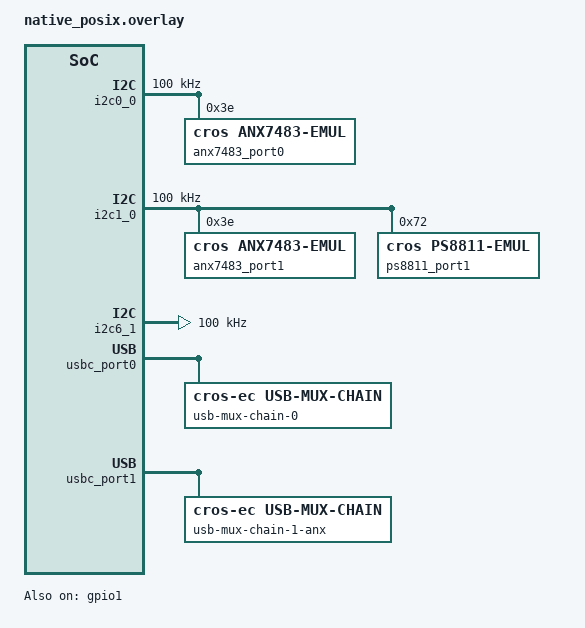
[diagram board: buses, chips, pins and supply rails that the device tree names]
/* Copyright 2023 The ChromiumOS Authors
 * Use of this source code is governed by a BSD-style license that can be
 * found in the LICENSE file.
 */

#include <board-overlays/native_posix.dts>
#include <dt-bindings/gpio_defines.h>

/ {
	/* GPIOs shared by all boards */
	named-gpios {
		compatible = "named-gpios";

		gpio_3axis_int_l: 3axis_int_l {
			gpios = <&gpio0 0 GPIO_INPUT_PULL_UP>;
		};
		gpio_6axis_int_l: 6axis_int_l {
			gpios = <&gpio0 1 GPIO_INPUT_PULL_UP>;
		};
		gpio_acok_od: acok_od {
			gpios = <&gpio0 2 GPIO_INPUT>;
			enum-name = "GPIO_AC_PRESENT";
		};
		gpio_ccd_mode_odl: ccd_mode_odl {
			gpios = <&gpio0 3 GPIO_ODR_LOW>;
			enum-name = "GPIO_CCD_MODE_ODL";
		};
		gpio_ec_bat_pres_odl: ec_bat_pres_odl {
			gpios = <&gpio0 4 GPIO_INPUT>;
			enum-name = "GPIO_BATT_PRES_ODL";
		};
		gpio_ec_c0_retimer_int_odl: ec_c0_retimer_int_odl {
			gpios = <&gpio0 5 GPIO_INPUT_PULL_UP>;
		};
		gpio_ec_c0_retimer_rst_l: ec_c0_retimer_rst_l {
			gpios = <&gpio0 6 GPIO_ODR_HIGH>;
		};
		gpio_ec_c1_retimer_int_odl: ec_c1_retimer_int_odl {
			gpios = <&gpio0 7 GPIO_INPUT>;
		};
		gpio_ec_c1_retimer_rst_odl: ec_c1_retimer_rst_odl {
			gpios = <&gpio0 8 GPIO_ODR_LOW>;
		};
		gpio_ec_disable_disp_bl: ec_disable_disp_bl {
			gpios = <&gpio0 9 GPIO_OUTPUT>;
			enum-name = "GPIO_ENABLE_BACKLIGHT";
		};
		gpio_ec_fan1_speed: ec_fan1_speed {
			gpios = <&gpio0 10 GPIO_INPUT>;
		};
		gpio_ec_fan2_speed: ec_fan2_speed {
			gpios = <&gpio0 11 GPIO_INPUT>;
		};
		gpio_ec_gsc_packet_mode_odl: ec_gsc_packet_mode_odl {
			gpios = <&gpio0 12 GPIO_ODR_LOW>;
			enum-name = "GPIO_PACKET_MODE_EN";
		};
		gpio_ec_kso_02_inv: ec_kso_02_inv {
			gpios = <&gpio0 13 (GPIO_OUTPUT | GPIO_ACTIVE_LOW)>;
			enum-name = "GPIO_KBD_KSO2";
		};
		gpio_ec_mech_pwr_btn_odl: ec_mech_pwr_btn_odl {
			gpios = <&gpio0 14 (GPIO_OUTPUT_LOW | GPIO_INPUT)>;
			enum-name = "GPIO_POWER_BUTTON_L";
		};
		gpio_ec_prochot_odl: ec_prochot_odl {
			gpios = <&gpio0 15 GPIO_INPUT>;
			enum-name = "GPIO_CPU_PROCHOT";
		};
		gpio_ec_soc_int: ec_soc_int {
			gpios = <&gpio0 16 GPIO_OUTPUT>;
			enum-name = "GPIO_EC_INT_L";
		};
		gpio_ec_soc_pwr_btn_odl: ec_soc_pwr_btn_odl {
			gpios = <&gpio0 17 GPIO_OUTPUT_HIGH>;
			enum-name = "GPIO_PCH_PWRBTN_L";
		};
		gpio_ec_soc_pwr_good: ec_soc_pwr_good {
			/*
			 * Needs to be configured as I/O to allow tested code to
			 * read this pin.
			 */
			gpios = <&gpio0 18 (GPIO_OUTPUT_LOW | GPIO_INPUT)>;
		};
		gpio_ec_soc_rsmrst_l: ec_soc_rsmrst_l {
			/*
			 * Needs to be configured as I/O to allow tested code to
			 * read this pin.
			 */
			gpios = <&gpio0 19 (GPIO_OUTPUT_LOW | GPIO_INPUT)>;
			enum-name = "GPIO_PCH_RSMRST_L";
		};
		gpio_ec_soc_wake_odl: ec_soc_wake_odl {
			gpios = <&gpio0 20 GPIO_ODR_LOW>;
		};
		gpio_ec_sys_rst_l: ec_sys_rst_l {
			gpios = <&gpio0 21 GPIO_ODR_HIGH>;
			enum-name = "GPIO_SYS_RESET_L";
		};
		gpio_ec_wp_l: ec_wp_l {
			gpios = <&gpio0 22 (GPIO_INPUT | GPIO_ACTIVE_LOW)>;
		};
		gpio_en_kb_bl: en_kb_bl {
			gpios = <&gpio0 23 GPIO_OUTPUT>;
			enum-name = "GPIO_EN_KEYBOARD_BACKLIGHT";
		};
		gpio_en_pp5000_usb_a0_vbus: en_pp5000_usb_a0_vbus {
			gpios = <&gpio0 24 GPIO_OUTPUT>;
		};
		gpio_en_pp5000_usb_a1_vbus: en_pp5000_usb_a1_vbus {
			gpios = <&gpio0 25 GPIO_OUTPUT>;
		};
		gpio_en_pwr_pcore_s0: en_pwr_pcore_s0 {
			/*
			 * Needs to be configured as I/O to allow tested code to
			 * read this pin.
			 */
			gpios = <&gpio0 26 (GPIO_OUTPUT_LOW | GPIO_INPUT)>;
		};
		gpio_en_pwr_s0: en_pwr_s0 {
			/*
			 * Needs to be configured as I/O to allow tested code to
			 * read this pin.
			 */
			gpios = <&gpio0 27 (GPIO_OUTPUT_LOW | GPIO_INPUT)>;
		};
		gpio_en_pwr_s5: en_pwr_s5 {
			gpios = <&gpio0 28 GPIO_OUTPUT>;
			enum-name = "GPIO_EN_PWR_A";
		};
		gpio_en_pwr_z1: en_pwr_z1 {
			gpios = <&gpio0 29 GPIO_OUTPUT>;
		};
		gpio_en_usb_a1_retimer: en_usb_a1_retimer {
			gpios = <&gpio0 30 GPIO_OUTPUT>;
		};
		gpio_en_usb_c0_tcpc_vbsnk_l: en_usb_c0_tcpc_vbsnk_l {
			gpios = <&gpio0 31 GPIO_INPUT>;
		};
		gpio_lid_open: lid_open {
			gpios = <&gpio1 0 GPIO_INPUT>;
			enum-name = "GPIO_LID_OPEN";
		};
		gpio_pg_groupc_s0_od: pg_groupc_s0_od {
			gpios = <&gpio1 1 GPIO_INPUT>;
		};
		gpio_pg_lpddr5_s3_od: pg_lpddr5_s3_od {
			gpios = <&gpio1 2 GPIO_INPUT>;
		};
		gpio_pg_pcore_s0_r_od: pg_pcore_s0_r_od {
			gpios = <&gpio1 3 GPIO_INPUT>;
			enum-name = "GPIO_S0_PGOOD";
		};
		gpio_pg_ppvar_mem_od: pg_ppvar_mem_od {
			gpios = <&gpio1 4 GPIO_INPUT>;
		};
		gpio_pg_pwr_s5: pg_pwr_s5 {
			gpios = <&gpio1 5 GPIO_INPUT>;
			enum-name = "GPIO_S5_PGOOD";
		};
		gpio_pg_vddq_mem_od: pg_vddq_mem_od {
			/*
			 * Needs to be configured as I/O to allow tested code to
			 * read this pin.
			 */
			gpios = <&gpio1 6 (GPIO_OUTPUT_LOW | GPIO_INPUT)>;
		};
		gpio_slp_s3_l: slp_s3_l {
			gpios = <&gpio1 7 GPIO_INPUT>;
			enum-name = "GPIO_PCH_SLP_S3_L";
		};
		gpio_slp_s5_l: slp_s5_l {
			gpios = <&gpio1 8 GPIO_INPUT>;
			enum-name = "GPIO_PCH_SLP_S5_L";
		};
		gpio_soc_alert_ec_odl: soc_alert_ec_odl {
			gpios = <&gpio1 9 GPIO_INPUT>;
		};
		gpio_soc_thermtrip_r_odl: soc_thermtrip_r_odl {
			gpios = <&gpio1 10 GPIO_INPUT>;
		};
		gpio_soc_usbc_pd_int: soc_usbc_pd_int {
			gpios = <&gpio1 11 GPIO_INPUT>;
		};
		gpio_tablet_mode: tablet_mode {
			gpios = <&gpio1 12 GPIO_INPUT>;
			enum-name = "GPIO_TABLET_MODE_L";
		};
		gpio_usb_a1_retimer_rst_l: usb_a1_retimer_rst_l {
			gpios = <&gpio1 13 GPIO_OUTPUT>;
		};
		gpio_usb_c0_c1_fault_odl: usb_c0_c1_fault_odl {
			gpios = <&gpio1 14 GPIO_ODR_HIGH>;
		};
		gpio_usb_c0_frs_alert_od: usb_c0_frs_alert_od {
			gpios = <&gpio1 15 GPIO_INPUT>;
		};
		gpio_usb_c0_hpd: usb_c0_hpd {
			gpios = <&gpio1 16 GPIO_OUTPUT>;
			enum-name = "GPIO_USB_C0_DP_HPD";
		};
		gpio_usb_c0_ppc_int_odl: usb_c0_ppc_int_odl {
			gpios = <&gpio1 17 (GPIO_INPUT_PULL_UP | GPIO_ACTIVE_LOW)>;
			enum-name = "GPIO_USB_C0_PPC_INT_ODL";
		};
		gpio_usb_c0_ppc_rst_l: usb_c0_ppc_rst_l {
			gpios = <&gpio1 18 GPIO_ODR_HIGH>;
		};
		gpio_usb_c0_sbu_flip: usb_c0_sbu_flip {
			gpios = <&gpio1 19 GPIO_ODR_LOW>;
		};
		gpio_usb_c0_tcpc_int_odl: usb_c0_tcpc_int_odl {
			gpios = <&gpio1 20 (GPIO_INPUT | GPIO_ACTIVE_LOW)>;
			enum-name = "GPIO_USB_C0_TCPC_INT_ODL";
		};
		gpio_usb_c1_frs_alert_od: usb_c1_frs_alert_od {
			gpios = <&gpio1 21 GPIO_INPUT>;
		};
		gpio_usb_c1_hpd: usb_c1_hpd {
			gpios = <&gpio1 22 GPIO_OUTPUT>;
			enum-name = "GPIO_USB_C1_DP_HPD";
		};
		gpio_usb_c1_ppc_int_odl: usb_c1_ppc_int_odl {
			gpios = <&gpio1 23 (GPIO_INPUT | GPIO_ACTIVE_LOW)>;
			enum-name = "GPIO_USB_C1_PPC_INT_ODL";
		};
		gpio_usb_c1_tcpc_int_odl: usb_c1_tcpc_int_odl {
			gpios = <&gpio1 24 (GPIO_INPUT | GPIO_ACTIVE_LOW)>;
			enum-name = "GPIO_USB_C1_TCPC_INT_ODL";
		};
		gpio_voldn_btn_odl: voldn_btn_odl {
			gpios = <&gpio1 25 GPIO_INPUT_PULL_UP>;
			enum-name = "GPIO_VOLUME_DOWN_L";
		};
		gpio_volup_btn_odl: volup_btn_odl {
			gpios = <&gpio1 26 GPIO_INPUT_PULL_UP>;
			enum-name = "GPIO_VOLUME_UP_L";
		};
	};

	gpio1: gpio@101 {
		status = "okay";
		compatible = "zephyr,gpio-emul";
		reg = <0x101 0x4>;
		rising-edge;
		falling-edge;
		high-level;
		low-level;
		gpio-controller;
		#gpio-cells = <2>;
		ngpios = <27>;
	};


	gpio-interrupts {
		compatible = "cros-ec,gpio-interrupts";

		int_slp_s3: slp_s3 {
			irq-pin = <&gpio_slp_s3_l>;
			flags = <GPIO_INT_EDGE_BOTH>;
			handler = "baseboard_en_pwr_s0";
		};
		int_slp_s5: slp_s5 {
			irq-pin = <&gpio_slp_s5_l>;
			flags = <GPIO_INT_EDGE_BOTH>;
			handler = "baseboard_set_en_pwr_s3";
		};
		int_s5_pgood: s5_pgood {
			irq-pin = <&gpio_pg_pwr_s5>;
			flags = <GPIO_INT_EDGE_BOTH>;
			handler = "baseboard_s5_pgood";
		};
		int_pg_groupc_s0: pg_groupc_s0 {
			irq-pin = <&gpio_pg_groupc_s0_od>;
			flags = <GPIO_INT_EDGE_BOTH>;
			handler = "power_interrupt_handler";
		};
		int_pg_lpddr_s3: pg_lpddr_s3 {
			irq-pin = <&gpio_pg_lpddr5_s3_od>;
			flags = <GPIO_INT_EDGE_BOTH>;
			handler = "power_interrupt_handler";
		};
		int_pg_vddq_mem_od: pg_vddq_mem_od {
			irq-pin = <&gpio_pg_vddq_mem_od>;
			flags = <GPIO_INT_EDGE_BOTH>;
			handler = "power_interrupt_handler";
		};
		int_soc_thermtrip: soc_thermtrip {
			irq-pin = <&gpio_soc_thermtrip_r_odl>;
			flags = <GPIO_INT_EDGE_FALLING>;
			handler = "baseboard_soc_thermtrip";
		};
		int_lid_accel: lid_accel {
			irq-pin = <&gpio_3axis_int_l>;
			flags = <GPIO_INT_EDGE_FALLING>;
			handler = "bma4xx_interrupt";
		};
		int_accel_gyro: accel_gyro {
			irq-pin = <&gpio_6axis_int_l>;
			flags = <GPIO_INT_EDGE_FALLING>;
			handler = "bmi3xx_interrupt";
		};
		int_prochot: prochot {
			irq-pin = <&gpio_ec_prochot_odl>;
			flags = <GPIO_INT_EDGE_BOTH>;
			handler = "throttle_ap_prochot_input_interrupt";
		};
	};

	named-i2c-ports {
		compatible = "named-i2c-ports";

		i2c_tcpc0: tcpc0 {
			i2c-port = <&i2c0_0>;
			enum-names = "I2C_PORT_TCPC0";
		};

		i2c_tcpc1: tcpc1 {
			i2c-port = <&i2c1_0>;
			enum-names = "I2C_PORT_TCPC1";
		};

		i2c_sensor: sensor {
			i2c-port = <&i2c6_1>;
			enum-names = "I2C_PORT_SENSOR";
		};
	};

	i2c0_0: i2c@400 {
		status = "okay";
		compatible = "zephyr,i2c-emul-controller";
		clock-frequency = <I2C_BITRATE_STANDARD>;
		#address-cells = <1>;
		#size-cells = <0>;
		reg = <0x400 4>;

		anx7483_port0: anx7483_emul0@3e {
			compatible = "cros,anx7483-emul", "analogix,anx7483";
			reg = <0x3e>;
			board-set = "board_anx7483_c0_mux_set";
		};
	};

	i2c1_0: i2c@500 {
		status = "okay";
		compatible = "zephyr,i2c-emul-controller";
		clock-frequency = <I2C_BITRATE_STANDARD>;
		#address-cells = <1>;
		#size-cells = <0>;
		reg = <0x500 4>;

		anx7483_port1: anx7483_emul1@3e {
			compatible = "cros,anx7483-emul", "analogix,anx7483";
			reg = <0x3e>;
			board-set = "board_anx7483_c1_mux_set";
		};

		ps8811_port1: ps8811_emul@72 {
			compatible = "cros,ps8811-emul";
			reg = <0x72>;
		};
	};

	i2c6_1: i2c@600 {
		status = "okay";
		compatible = "zephyr,i2c-emul-controller";
		clock-frequency = <I2C_BITRATE_STANDARD>;
		#address-cells = <1>;
		#size-cells = <0>;
		reg = <0x600 4>;
	};

	myst-fw-config {
		compatible = "cros-ec,cbi-fw-config";

		form-factor {
			enum-name = "FW_FORM_FACTOR";
			start = <0>;
			size = <1>;

			ff-clamshell {
				compatible = "cros-ec,cbi-fw-config-value";
				enum-name = "FW_FF_CLAMSHELL";
				value = <0>;
			};
			ff-convertible {
				compatible = "cros-ec,cbi-fw-config-value";
				enum-name = "FW_FF_CONVERTIBLE";
				value = <1>;
				default;
			};
		};

		io-db {
			enum-name = "FW_IO_DB";
			start = <6>;
			size = <2>;

			io-db-ps8811-ps8818 {
				compatible = "cros-ec,cbi-fw-config-value";
				enum-name = "FW_IO_DB_PS8811_PS8818";
				value = <0>;
			};
			io-db-none-anx7483 {
				compatible = "cros-ec,cbi-fw-config-value";
				enum-name = "FW_IO_DB_NONE_ANX7483";
				value = <1>;
				default;
			};
		};

		fan {
			enum-name = "FW_FAN";
			start = <10>;
			size = <1>;

			no-fan {
				compatible = "cros-ec,cbi-fw-config-value";
				enum-name = "FW_FAN_NOT_PRESENT";
				value = <0>;
			};
			fan-present {
				compatible = "cros-ec,cbi-fw-config-value";
				enum-name = "FW_FAN_PRESENT";
				value = <1>;
				/*
				 * Set as default so that unprovisioned
				 * configs will run the fan regardless.
				 */
				default;
			};
		};

		charger-option {
			enum-name = "FW_CHARGER";
			start = <11>;
			size = <2>;

			charger-option-isl9241 {
				compatible = "cros-ec,cbi-fw-config-value";
				enum-name = "FW_CHARGER_ISL9241";
				value = <0>;
				default;
			};
			charger-option-isl9538 {
				compatible = "cros-ec,cbi-fw-config-value";
				enum-name = "FW_CHARGER_ISL9538";
				value = <1>;
			};
		};
	};

	usbc {
		#address-cells = <1>;
		#size-cells = <0>;

		usbc_port0: port0@0 {
			compatible = "named-usbc-port";
			reg = <0>;

			usb-mux-chain-0 {
				compatible = "cros-ec,usb-mux-chain";
				usb-muxes = <&anx7483_port0>;
			};
		};

		usbc_port1: port1@1 {
			compatible = "named-usbc-port";
			reg = <1>;

			usb-mux-chain-1-anx {
				compatible = "cros-ec,usb-mux-chain";
				usb-muxes = <&anx7483_port1>;
			};
		};
	};
};

&gpio0 {
	ngpios = <32>;
};
